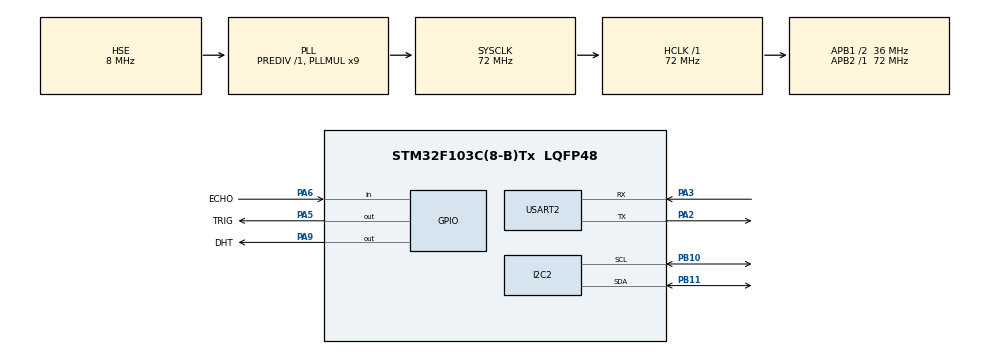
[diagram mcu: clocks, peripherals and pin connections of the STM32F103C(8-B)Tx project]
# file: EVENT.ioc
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Mcu.Family=STM32F1
Mcu.Name=STM32F103C(8-B)Tx
Mcu.Package=LQFP48
NVIC.PriorityGroup=NVIC_PRIORITYGROUP_4
PA13.Mode=Serial_Wire
PA13.Signal=SYS_JTMS-SWDIO
PA14.Mode=Serial_Wire
PA14.Signal=SYS_JTCK-SWCLK
PA2.Mode=Asynchronous
PA2.Signal=USART2_TX
PA3.Mode=Asynchronous
PA3.Signal=USART2_RX
PA5.GPIO_Label=TRIG
PA5.Signal=GPIO_Output
PA6.GPIO_Label=ECHO
PA6.Signal=GPIO_Input
PA9.GPIO_Label=DHT
PA9.Signal=GPIO_Output
PB10.Mode=I2C
PB10.Signal=I2C2_SCL
PB11.Mode=I2C
PB11.Signal=I2C2_SDA
PD0-OSC_IN.Mode=HSE-External-Oscillator
PD0-OSC_IN.Signal=RCC_OSC_IN
PD1-OSC_OUT.Mode=HSE-External-Oscillator
PD1-OSC_OUT.Signal=RCC_OSC_OUT
ProjectManager.HeapSize=0x200
ProjectManager.StackSize=0x400
ProjectManager.TargetToolchain=STM32CubeIDE
RCC.AHBFreq_Value=72000000
RCC.APB1CLKDivider=RCC_HCLK_DIV2
RCC.APB1Freq_Value=36000000
RCC.APB1TimFreq_Value=72000000
RCC.APB2Freq_Value=72000000
RCC.APB2TimFreq_Value=72000000
RCC.HCLKFreq_Value=72000000
RCC.PLLMUL=RCC_PLL_MUL9
RCC.PLLSourceVirtual=RCC_PLLSOURCE_HSE
RCC.SYSCLKFreq_VALUE=72000000
RCC.SYSCLKSource=RCC_SYSCLKSOURCE_PLLCLK
RCC.USBFreq_Value=72000000
USART2.VirtualMode=VM_ASYNC
VP_TIM1_VS_ClockSourceINT.Mode=Internal
VP_TIM2_VS_ClockSourceINT.Mode=Internal
VP_TIM3_VS_ClockSourceINT.Mode=Internal
board=custom

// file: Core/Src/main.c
/* USER CODE BEGIN Header */
/**
  ******************************************************************************
  * @file           : main.c
  * @brief          : Main program body
  ******************************************************************************
  * @attention
  *
  * Copyright (c) 2024 STMicroelectronics.
  * All rights reserved.
  *
  * This software is licensed under terms that can be found in the LICENSE file
  * in the root directory of this software component.
  * If no LICENSE file comes with this software, it is provided AS-IS.
  *
  ******************************************************************************
  */
/* USER CODE END Header */
#include "main.h"
#include <stdio.h>
#include <string.h>
#include <stdlib.h>
#include "delay_timer.h"
#include "dht11.h"
#include "lcd_i2c.h"
#include "hrf05.h"
#include "taskQueue.h"
/* USER CODE BEGIN Includes */
typedef enum
{
	LCD_DISTANCE,
	LCD_TEM,
	LCD_HUMI,
	LCD_FULL
} LCD_MODE;
/* USER CODE END Includes */

/* USER CODE BEGIN PTD */
#define MAX_RX_LEN 				15
#define DISPLAY_COMMAND_LEN 	13
#define TIME_COMMAND_LEN 		10
#define TICK_LENGTH_MS 			1 //ms
/* USER CODE END PTD */

I2C_HandleTypeDef hi2c2;

TIM_HandleTypeDef htim1;
TIM_HandleTypeDef htim2;
TIM_HandleTypeDef htim3;

UART_HandleTypeDef huart2;

/* USER CODE BEGIN PV */
DHT11_Sensor dht11;
LCD_I2C_Name lcd;
SRF05_Device_Name hrf05;
/* USER CODE END PV */
DHT11_Status dhtStatus;
char temp[20];
uint8_t rxData[20]; /* UART data receiver buffer */
uint8_t rxDataId = 0;
LCD_MODE lcdMode = LCD_FULL;
volatile uint8_t isInterrupt = 0;

TaskQueue_t TaskQueue;

float dhtTem;
float dhtHumi;
float distance;
void SystemClock_Config(void);
static void MX_GPIO_Init(void);
static void MX_I2C2_Init(void);
static void MX_TIM1_Init(void);
static void MX_TIM2_Init(void);
static void MX_TIM3_Init(void);
static void MX_USART2_UART_Init(void);
/* USER CODE BEGIN PFP */
void Task_Dht_handler();
void Task_Dist_handler();
void Task_Display_handler();
void Task_Uart_Handler();
/* USER CODE END PFP */

/* USER CODE BEGIN 0 */
int __io_putchar(int a)
{
	HAL_UART_Transmit(&huart2, (uint8_t *)&a, 1, HAL_MAX_DELAY);

	return a;
}
/* USER CODE END 0 */
void HAL_UART_RxCpltCallback(UART_HandleTypeDef *huart)
{
	if (huart->Instance == huart2.Instance)
	{
		if (rxData[rxDataId] == '\n')
		{
			rxData[rxDataId] = '\0';
			isInterrupt = 1;
			rxDataId = 0;
			Queue_PushRear(&TaskQueue, Task_Uart_Handler);
		}
		else
		{
			rxDataId ++;
		}
	}
	HAL_UART_Receive_IT(&huart2, (uint8_t*)&rxData[rxDataId], 1);
}

void HAL_TIM_PeriodElapsedCallback(TIM_HandleTypeDef *htim)
{
	/* Task event for dht measuring */
	if(htim == &htim1){
		Queue_PushRear(&TaskQueue, Task_Dht_handler);
		Queue_PushRear(&TaskQueue, Task_Display_handler);
	}
	/* Task event for distance measuring */
	if(htim == &htim2){
		Queue_PushRear(&TaskQueue, Task_Dist_handler);
		Queue_PushRear(&TaskQueue, Task_Display_handler);
	}
}

void Task_Dht_handler(){
//	printf("TASK_DHT_MEASUREMENT IN: %ld\r\n", uwTick);
	dhtStatus = DHT11_GetData(&dht11);
	dhtHumi = dht11.Humi;
	dhtTem = dht11.Temp;
//	printf("TASK_DHT_MEASUREMENT OUT: %ld\r\n", uwTick);
}

void Task_Dist_handler(){
//	printf("TASK_DIST_MEASUREMENT IN: %ld\r\n", uwTick);
	SRF05_Read(&hrf05);
	distance = hrf05.Distance;
//	printf("TASK_DIST_MEASUREMENT OUT: %ld\r\n", uwTick);
}
void Task_Display_handler(){
//	printf("TASK_DISPLAY_MEASUREMENT IN: %ld\r\n", uwTick);
	LCD_Clear(&lcd);
	switch (lcdMode){
	case LCD_DISTANCE:
		sprintf(temp, "D: %.2f", distance);
		LCD_SetCursor(&lcd, 0, 0);
		LCD_WriteString(&lcd, temp);
		printf("D: %.2f\r\n", distance);
		break;
	case LCD_HUMI:
		sprintf(temp, "H: %.2f", dhtHumi);
		LCD_SetCursor(&lcd, 0, 0);
		LCD_WriteString(&lcd, temp);
		printf("H: %.2f\r\n", dhtHumi);
		break;
	case LCD_TEM:
		sprintf(temp, "T: %.2f", dhtTem);
		LCD_SetCursor(&lcd, 0, 0);
		LCD_WriteString(&lcd, temp);
		printf("T: %.2f\r\n", dhtTem);
		break;
	case LCD_FULL:
		sprintf(temp, "T: %.2f H: %.2f", dhtTem, dhtHumi);
		LCD_SetCursor(&lcd, 0, 0);
		LCD_WriteString(&lcd, temp);
		printf("T: %.2f\r\n", dhtTem);
		printf("H: %.2f\r\n", dhtHumi);
		sprintf(temp, "D: %.2f", distance);
		LCD_SetCursor(&lcd, 0, 1);
		LCD_WriteString(&lcd, temp);
		printf("D: %.2f\r\n", distance);
		break;
	}
//	printf("TASK_DISPLAY_MEASUREMENT OUT: %ld\r\n", uwTick);
}

void Task_Uart_Handler(){
//	printf("UART Handler IN: %ld\r\n", uwTick);
	/* Given the following commands */
	/* Display Mode (11 characters)
	 * displaytemp
	 * displayhumi
	 * displaydist
	 * displayboth
	 */

	/* Time
	 * timetemp
	 * timehumi
	 * timedist
	 */

	char *command = strtok((char*)rxData, " ");
	char *time = strtok(NULL, " ");
	if (NULL == time){
		if (strcmp((const char*)rxData, "displaytemp") == 0)
		{
			lcdMode = LCD_TEM;
			printf("Change Mode to DISPLAY_TEMP\r\n\n");
		}
		else if (strcmp((const char*)rxData, "displayhumi") == 0)
		{
			lcdMode = LCD_HUMI;
			printf("Change Mode to DISPLAY_HUMI\r\n\n");
		}
		else if (strcmp((const char*)rxData, "displaydist") == 0)
		{
			lcdMode = LCD_DISTANCE;
			printf("Change Mode to DISPLAY_DIST\r\n\n");
		}
		else if (strcmp((const char*)rxData, "displayboth") == 0)
		{
			lcdMode = LCD_FULL;
			printf("Change Mode to DISPLAY_ALL\r\n\n");
		}
		else
		{
			printf("Error Command Syntax\r\n\n");
		}
	}
	else {
		uint32_t T = atoi(time);
		if (strcmp((const char*)command, "timedht11") == 0)
		{
			htim2.Instance->ARR = T/TICK_LENGTH_MS - 1 ;
			printf("Change period of dht11 time to %ld\r\n", T);
		}
		else if (strcmp((const char*)command, "timedist") == 0)
		{
			htim3.Instance->ARR = T/TICK_LENGTH_MS - 1;
			printf("Change period of dist time to %ld\r\n", T);
		}
		else
		{
			printf("Error Command Syntax\r\n\n");
		}
	}
//	printf("UART Handler OUT: %ld\r\n", uwTick);
}

int main(void)
{

  /* MCU Configuration--------------------------------------------------------*/

  /* Reset of all peripherals, Initializes the Flash interface and the Systick. */
  HAL_Init();

  /* Configure the system clock */
  SystemClock_Config();

  /* Initialize all configured peripherals */
  MX_GPIO_Init();
  MX_I2C2_Init();
  MX_TIM1_Init();
  MX_TIM2_Init();
  MX_TIM3_Init();
  MX_USART2_UART_Init();
  /* USER CODE BEGIN 2 */
	LCD_Init(&lcd, &hi2c2, LDC_DEFAULT_ADDRESS, 20, 4);
	DHT11_Init(&dht11, DHT_GPIO_Port, DHT_Pin, &htim3);
	SRF05_Init(&hrf05, ECHO_GPIO_Port, ECHO_Pin, TRIG_GPIO_Port, TRIG_Pin);
	HAL_UART_Receive_IT(&huart2, (uint8_t*)&rxData[rxDataId], 1);
  /* USER CODE END 2 */
	Queue_Init(&TaskQueue, 20);
	HAL_TIM_Base_Start_IT(&htim1);
	HAL_TIM_Base_Start_IT(&htim2);
  /* Infinite loop */
  while (1)
  {
	  while(TaskQueue.Size != 0){
	  			pTaskFunction taskHander = Queue_Pop(&TaskQueue);
	  			taskHander();
	  		}
  }
}

void SystemClock_Config(void)
{
  RCC_OscInitTypeDef RCC_OscInitStruct = {0};
  RCC_ClkInitTypeDef RCC_ClkInitStruct = {0};

  /** Initializes the RCC Oscillators according to the specified parameters
  * in the RCC_OscInitTypeDef structure.
  */
  RCC_OscInitStruct.OscillatorType = RCC_OSCILLATORTYPE_HSE;
  RCC_OscInitStruct.HSEState = RCC_HSE_ON;
  RCC_OscInitStruct.HSEPredivValue = RCC_HSE_PREDIV_DIV1;
  RCC_OscInitStruct.HSIState = RCC_HSI_ON;
  RCC_OscInitStruct.PLL.PLLState = RCC_PLL_ON;
  RCC_OscInitStruct.PLL.PLLSource = RCC_PLLSOURCE_HSE;
  RCC_OscInitStruct.PLL.PLLMUL = RCC_PLL_MUL9;
  if (HAL_RCC_OscConfig(&RCC_OscInitStruct) != HAL_OK)
  {
    Error_Handler();
  }

  /** Initializes the CPU, AHB and APB buses clocks
  */
  RCC_ClkInitStruct.ClockType = RCC_CLOCKTYPE_HCLK|RCC_CLOCKTYPE_SYSCLK
                              |RCC_CLOCKTYPE_PCLK1|RCC_CLOCKTYPE_PCLK2;
  RCC_ClkInitStruct.SYSCLKSource = RCC_SYSCLKSOURCE_PLLCLK;
  RCC_ClkInitStruct.AHBCLKDivider = RCC_SYSCLK_DIV1;
  RCC_ClkInitStruct.APB1CLKDivider = RCC_HCLK_DIV2;
  RCC_ClkInitStruct.APB2CLKDivider = RCC_HCLK_DIV1;

  if (HAL_RCC_ClockConfig(&RCC_ClkInitStruct, FLASH_LATENCY_2) != HAL_OK)
  {
    Error_Handler();
  }
}

static void MX_I2C2_Init(void)
{

  hi2c2.Instance = I2C2;
  hi2c2.Init.ClockSpeed = 100000;
  hi2c2.Init.DutyCycle = I2C_DUTYCYCLE_2;
  hi2c2.Init.OwnAddress1 = 0;
  hi2c2.Init.AddressingMode = I2C_ADDRESSINGMODE_7BIT;
  hi2c2.Init.DualAddressMode = I2C_DUALADDRESS_DISABLE;
  hi2c2.Init.OwnAddress2 = 0;
  hi2c2.Init.GeneralCallMode = I2C_GENERALCALL_DISABLE;
  hi2c2.Init.NoStretchMode = I2C_NOSTRETCH_DISABLE;
  if (HAL_I2C_Init(&hi2c2) != HAL_OK)
  {
    Error_Handler();
  }

}

static void MX_TIM1_Init(void)
{

  TIM_ClockConfigTypeDef sClockSourceConfig = {0};
  TIM_MasterConfigTypeDef sMasterConfig = {0};

  htim1.Instance = TIM1;
  htim1.Init.Prescaler = 0;
  htim1.Init.CounterMode = TIM_COUNTERMODE_UP;
  htim1.Init.Period = 65535;
  htim1.Init.ClockDivision = TIM_CLOCKDIVISION_DIV1;
  htim1.Init.RepetitionCounter = 0;
  htim1.Init.AutoReloadPreload = TIM_AUTORELOAD_PRELOAD_DISABLE;
  if (HAL_TIM_Base_Init(&htim1) != HAL_OK)
  {
    Error_Handler();
  }
  sClockSourceConfig.ClockSource = TIM_CLOCKSOURCE_INTERNAL;
  if (HAL_TIM_ConfigClockSource(&htim1, &sClockSourceConfig) != HAL_OK)
  {
    Error_Handler();
  }
  sMasterConfig.MasterOutputTrigger = TIM_TRGO_RESET;
  sMasterConfig.MasterSlaveMode = TIM_MASTERSLAVEMODE_DISABLE;
  if (HAL_TIMEx_MasterConfigSynchronization(&htim1, &sMasterConfig) != HAL_OK)
  {
    Error_Handler();
  }

}

static void MX_TIM2_Init(void)
{

  TIM_ClockConfigTypeDef sClockSourceConfig = {0};
  TIM_MasterConfigTypeDef sMasterConfig = {0};

  htim2.Instance = TIM2;
  htim2.Init.Prescaler = 0;
  htim2.Init.CounterMode = TIM_COUNTERMODE_UP;
  htim2.Init.Period = 65535;
  htim2.Init.ClockDivision = TIM_CLOCKDIVISION_DIV1;
  htim2.Init.AutoReloadPreload = TIM_AUTORELOAD_PRELOAD_DISABLE;
  if (HAL_TIM_Base_Init(&htim2) != HAL_OK)
  {
    Error_Handler();
  }
  sClockSourceConfig.ClockSource = TIM_CLOCKSOURCE_INTERNAL;
  if (HAL_TIM_ConfigClockSource(&htim2, &sClockSourceConfig) != HAL_OK)
  {
    Error_Handler();
  }
  sMasterConfig.MasterOutputTrigger = TIM_TRGO_RESET;
  sMasterConfig.MasterSlaveMode = TIM_MASTERSLAVEMODE_DISABLE;
  if (HAL_TIMEx_MasterConfigSynchronization(&htim2, &sMasterConfig) != HAL_OK)
  {
    Error_Handler();
  }

}

static void MX_TIM3_Init(void)
{

  TIM_ClockConfigTypeDef sClockSourceConfig = {0};
  TIM_MasterConfigTypeDef sMasterConfig = {0};

  htim3.Instance = TIM3;
  htim3.Init.Prescaler = 0;
  htim3.Init.CounterMode = TIM_COUNTERMODE_UP;
  htim3.Init.Period = 65535;
  htim3.Init.ClockDivision = TIM_CLOCKDIVISION_DIV1;
  htim3.Init.AutoReloadPreload = TIM_AUTORELOAD_PRELOAD_DISABLE;
  if (HAL_TIM_Base_Init(&htim3) != HAL_OK)
  {
    Error_Handler();
  }
  sClockSourceConfig.ClockSource = TIM_CLOCKSOURCE_INTERNAL;
  if (HAL_TIM_ConfigClockSource(&htim3, &sClockSourceConfig) != HAL_OK)
  {
    Error_Handler();
  }
  sMasterConfig.MasterOutputTrigger = TIM_TRGO_RESET;
  sMasterConfig.MasterSlaveMode = TIM_MASTERSLAVEMODE_DISABLE;
  if (HAL_TIMEx_MasterConfigSynchronization(&htim3, &sMasterConfig) != HAL_OK)
  {
    Error_Handler();
  }

}

static void MX_USART2_UART_Init(void)
{

  huart2.Instance = USART2;
  huart2.Init.BaudRate = 115200;
  huart2.Init.WordLength = UART_WORDLENGTH_8B;
  huart2.Init.StopBits = UART_STOPBITS_1;
  huart2.Init.Parity = UART_PARITY_NONE;
  huart2.Init.Mode = UART_MODE_TX_RX;
  huart2.Init.HwFlowCtl = UART_HWCONTROL_NONE;
  huart2.Init.OverSampling = UART_OVERSAMPLING_16;
  if (HAL_UART_Init(&huart2) != HAL_OK)
  {
    Error_Handler();
  }

}

static void MX_GPIO_Init(void)
{
  GPIO_InitTypeDef GPIO_InitStruct = {0};

  /* GPIO Ports Clock Enable */
  __HAL_RCC_GPIOD_CLK_ENABLE();
  __HAL_RCC_GPIOA_CLK_ENABLE();
  __HAL_RCC_GPIOB_CLK_ENABLE();

  /*Configure GPIO pin Output Level */
  HAL_GPIO_WritePin(GPIOA, TRIG_Pin|DHT_Pin, GPIO_PIN_RESET);

  /*Configure GPIO pins : TRIG_Pin DHT_Pin */
  GPIO_InitStruct.Pin = TRIG_Pin|DHT_Pin;
  GPIO_InitStruct.Mode = GPIO_MODE_OUTPUT_PP;
  GPIO_InitStruct.Pull = GPIO_NOPULL;
  GPIO_InitStruct.Speed = GPIO_SPEED_FREQ_LOW;
  HAL_GPIO_Init(GPIOA, &GPIO_InitStruct);

  /*Configure GPIO pin : ECHO_Pin */
  GPIO_InitStruct.Pin = ECHO_Pin;
  GPIO_InitStruct.Mode = GPIO_MODE_INPUT;
  GPIO_InitStruct.Pull = GPIO_NOPULL;
  HAL_GPIO_Init(ECHO_GPIO_Port, &GPIO_InitStruct);

}

void Error_Handler(void)
{
  __disable_irq();
  while (1)
  {
  }
}
